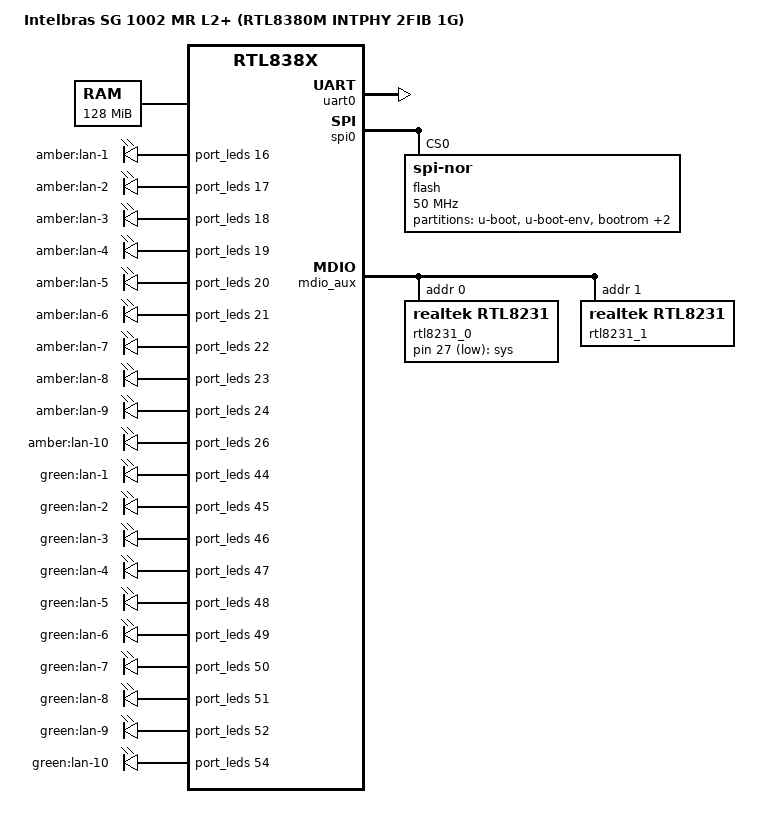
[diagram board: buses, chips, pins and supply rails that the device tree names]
// SPDX-License-Identifier: GPL-2.0-or-later

/*
 * Intelbras SG 1002 MR L2+
 *
 * DTS for the RTL8380M_INTPHY_2FIB_1G_DEMO hardware profile, booted by the GPL
 * U-Boot either as an initramfs loaded by TFTP or from the "firmware"
 * partition.  The whole 16 MiB flash is described, but everything except the
 * U-Boot environment and the "firmware" partition is read-only: the running
 * system must not alter the boot chain or the Intelbras VxWorks layout.
 *
 * Confirmed topology: RTL8380M, 128 MiB DDR3, eight RTL8218B internal PHYs
 * (MAC/PHY 8..15), 1G fibre SerDes 4 and 5 (MAC 24 and 26), CPU MAC 28.
 * The board visibly has two RTL8231 expanders.  RTL8231 address 0 is the
 * first candidate for the front-panel scan matrix.  The Realtek reference
 * profile for this PCB family selects single-colour scanning: the two banks
 * represent the two LEDs in each of the ten front-panel positions.  Address
 * 1 is the expander of the two SFP cages: several tracks run from the SFP
 * cages to the second RTL8231 (observed on the board by its owner, not yet
 * verified electrically or with a module).  It remains GPIO-only until the
 * individual pins are measured.
 */
#include "rtl838x.dtsi"

#include <dt-bindings/gpio/gpio.h>
#include <dt-bindings/leds/common.h>

/ {
	compatible = "intelbras,sg1002-mr", "realtek,rtl838x-soc";
	model = "Intelbras SG 1002 MR L2+ (RTL8380M INTPHY 2FIB 1G)";

	aliases {
		/* BDCO base MAC at SPI offset 0x141038. */
		label-mac-device = &ethernet0;

		/* The measured active-low SYS LED is the OpenWrt diagnostic LED. */
		led-boot = &sys;
		led-failsafe = &sys;
		led-running = &sys;
		led-upgrade = &sys;
	};

	memory@0 {
		device_type = "memory";
		reg = <0x0 0x8000000>;
	};

	port_leds: port-leds {
		compatible = "realtek,rtl8380-port-leds";
		gpio-controller;
		#gpio-cells = <2>;
		/* Measured from the vendor board's stable LED-engine state. */
		realtek,port-enable-mask = <0x05ffffff>;
	};

	leds {
		compatible = "gpio-leds";

		amber_lan1: amber-lan1 { label = "amber:lan-1"; gpios = <&port_leds 16 GPIO_ACTIVE_HIGH>; default-state = "off"; };
		amber_lan2: amber-lan2 { label = "amber:lan-2"; gpios = <&port_leds 17 GPIO_ACTIVE_HIGH>; default-state = "off"; };
		amber_lan3: amber-lan3 { label = "amber:lan-3"; gpios = <&port_leds 18 GPIO_ACTIVE_HIGH>; default-state = "off"; };
		amber_lan4: amber-lan4 { label = "amber:lan-4"; gpios = <&port_leds 19 GPIO_ACTIVE_HIGH>; default-state = "off"; };
		amber_lan5: amber-lan5 { label = "amber:lan-5"; gpios = <&port_leds 20 GPIO_ACTIVE_HIGH>; default-state = "off"; };
		amber_lan6: amber-lan6 { label = "amber:lan-6"; gpios = <&port_leds 21 GPIO_ACTIVE_HIGH>; default-state = "off"; };
		amber_lan7: amber-lan7 { label = "amber:lan-7"; gpios = <&port_leds 22 GPIO_ACTIVE_HIGH>; default-state = "off"; };
		amber_lan8: amber-lan8 { label = "amber:lan-8"; gpios = <&port_leds 23 GPIO_ACTIVE_HIGH>; default-state = "off"; };
		amber_lan9: amber-lan9 { label = "amber:lan-9"; gpios = <&port_leds 24 GPIO_ACTIVE_HIGH>; default-state = "off"; };
		amber_lan10: amber-lan10 { label = "amber:lan-10"; gpios = <&port_leds 26 GPIO_ACTIVE_HIGH>; default-state = "off"; };

		green_lan1: green-lan1 { label = "green:lan-1"; gpios = <&port_leds 44 GPIO_ACTIVE_HIGH>; default-state = "off"; };
		green_lan2: green-lan2 { label = "green:lan-2"; gpios = <&port_leds 45 GPIO_ACTIVE_HIGH>; default-state = "off"; };
		green_lan3: green-lan3 { label = "green:lan-3"; gpios = <&port_leds 46 GPIO_ACTIVE_HIGH>; default-state = "off"; };
		green_lan4: green-lan4 { label = "green:lan-4"; gpios = <&port_leds 47 GPIO_ACTIVE_HIGH>; default-state = "off"; };
		green_lan5: green-lan5 { label = "green:lan-5"; gpios = <&port_leds 48 GPIO_ACTIVE_HIGH>; default-state = "off"; };
		green_lan6: green-lan6 { label = "green:lan-6"; gpios = <&port_leds 49 GPIO_ACTIVE_HIGH>; default-state = "off"; };
		green_lan7: green-lan7 { label = "green:lan-7"; gpios = <&port_leds 50 GPIO_ACTIVE_HIGH>; default-state = "off"; };
		green_lan8: green-lan8 { label = "green:lan-8"; gpios = <&port_leds 51 GPIO_ACTIVE_HIGH>; default-state = "off"; };
		green_lan9: green-lan9 { label = "green:lan-9"; gpios = <&port_leds 52 GPIO_ACTIVE_HIGH>; default-state = "off"; };
		green_lan10: green-lan10 { label = "green:lan-10"; gpios = <&port_leds 54 GPIO_ACTIVE_HIGH>; default-state = "off"; };

		/* Measured: RTL8231 address 0, GPIO27, active-low. */
		sys: sys {
			label = "sys";
			gpios = <&rtl8231_0 27 GPIO_ACTIVE_LOW>;
			/* Preserve RUNNING through S96led's saved-state restoration. */
			default-state = "on";
		};
	};

};

/* UART0 is physically connected and remains at the U-Boot rate. */
&uart0 {
	status = "okay";
};

/* No second UART or PoE controller is known on this non-PoE model. */
&uart1 {
	status = "disabled";
};

/*
 * Flash map.  Every partition starts and ends on a 64 KiB erase block (the
 * size the MTD core uses on this W25Q128), which is also why 0x000000-0x03ffff
 * is one partition: an entry at 0x008000 would not be block aligned and the
 * core would print a warning and force it read-only anyway.
 *
 *   0x000000 0x040000  u-boot      GPL boot chain            read-only
 *   0x040000 0x010000  u-boot-env  GPL U-Boot environment    writable
 *									https://github.com/fbinerd/u-boot/tree/v2026.07-sg1002-mr
 *   0x050000 0x0f0000  bootrom     Intelbras VxWorks bootrom read-only
 *   0x140000 0x010000  factory     BDCO factory sector       read-only
 *   0x150000 0xeb0000  firmware    OpenWrt image             writable
 *
 * Only "u-boot-env" and "firmware" can be written from Linux.  Nothing else
 * is reachable through a writable MTD target, so a stray mtd write or a
 * sysupgrade cannot touch the boot chain or the proprietary layout.
 *
 * "u-boot" holds the GPL Stage-1 preloader (0x000000-0x007fff: DDR training,
 * copies Stage-2 to RAM) and the GPL Stage-2 U-Boot (0x008000-0x03ffff).  A
 * bad write here bricks the board; recovery needs an external programmer.
 *
 * "bootrom" is the Intelbras VxWorks bootrom, a uImage named "bootrom"
 * (0x050000-0x0f2e93, gzip payload vxWorks.bin) followed by padding up to the
 * factory sector.  The GPL U-Boot can still boot it as its fallback target
 * (vxworks_addr).  Stage-1 also reads its DDR training pattern from 0x050000
 * (static observation of the code, not verified on the board), so erasing this
 * area would change the calibration data.
 *
 * "u-boot-env" is the environment of the GPL U-Boot (Stage-2), a single 64 KiB
 * copy at 0x040000 (CONFIG_ENV_OFFSET/CONFIG_ENV_SIZE of
 * configs/intelbras_sg1002_mr_factory_payload_defconfig, CRC32 in target
 * byte order, no redundancy flag).  The name matters: uboot-envtools'
 * 30_uboot-envtools looks the partition up by it to generate
 * /etc/fw_env.config (its default case, env 0x10000 / sector 0x10000, fits
 * this flash; the optional "u-boot-env2" it probes does not exist and is
 * skipped).  That script only runs after preinit, while 05_fw_defaults calls
 * fw_loadenv during preinit.  The compatible "u-boot,env" is what lets
 * fw_printenv fall back to the NVMEM device the MTD core registers for the
 * partition (/sys/bus/nvmem/devices/mtdN/nvmem, needs CONFIG_NVMEM_SYSFS)
 * while /etc/fw_env.config does not exist yet.
 *
 * "firmware" is the OpenWrt image that U-Boot boots with `bootm 0xb4150000`
 * (openwrt_addr in the U-Boot environment): a standard uImage kernel followed
 * by the rootfs, split by the denx,uimage parser.  It spans 0x150000-0xffffff,
 * the old Intelbras filesystem area plus the vendor's own trailing "reserved"
 * sector, which this project already replaced with OpenWrt; nothing below
 * 0x150000 (bootrom at 0x050000, factory at 0x140000) is reachable through
 * this partition.  It is what lets sysupgrade rewrite the image from OpenWrt
 * itself.
 *
 * The vendor's own map ended "firmware" at 0xfcffff and left 0xfd0000-0xffffff
 * as a separate "reserved" partition; a full-chip factory dump (both an
 * external CH341A read and a second, independent read, byte for byte
 * identical) has every one of those 192 KiB erased (0xff), with no header, ID,
 * or string of any kind. There is nothing to preserve there, so it is folded
 * into "firmware" instead of kept as a dead partition, giving OpenWrt the
 * extra headroom instead of leaving it unusable.
 */
&spi0 {
	status = "okay";

	flash@0 {
		compatible = "jedec,spi-nor";
		reg = <0>;
		spi-max-frequency = <50000000>;
		m25p,fast-read;

		partitions {
			compatible = "fixed-partitions";
			#address-cells = <1>;
			#size-cells = <1>;

			partition@0 {
				label = "u-boot";
				reg = <0x0 0x40000>;
				read-only;
			};

			partition@40000 {
				compatible = "u-boot,env";
				label = "u-boot-env";
				reg = <0x40000 0x10000>;
			};

			partition@50000 {
				label = "bootrom";
				reg = <0x50000 0xf0000>;
				read-only;
			};

			factory: partition@140000 {
				label = "factory";
				reg = <0x140000 0x10000>;
				read-only;

				nvmem-layout {
					compatible = "fixed-layout";
					#address-cells = <1>;
					#size-cells = <1>;

					macaddr_factory: macaddr@1038 {
						compatible = "mac-base";
						reg = <0x1038 0x6>;
						#nvmem-cell-cells = <1>;
					};
				};
			};

			partition@150000 {
				label = "firmware";
				compatible = "denx,uimage";
				reg = <0x150000 0xeb0000>;
			};
		};
	};
};

/* Base MAC plus a deterministic increment for every front-panel port. */
&ethernet0 {
	nvmem-cells = <&macaddr_factory 0>;
	nvmem-cell-names = "mac-address";
};

&mdio_aux {
	status = "okay";

	rtl8231_0: expander@0 {
		compatible = "realtek,rtl8231";
		reg = <0>;
		gpio-controller;
		#gpio-cells = <2>;
		gpio-ranges = <&rtl8231_0 0 0 37>;

		/*
		 * The RTL8380 LED engine already drives the two port colour channels
		 * through &port_leds.  Do not put RTL8231 pins 0..19 into its own
		 * scan mode: that is a second producer for the same front-panel LED
		 * paths and produces group flicker/ghost illumination.  GPIO27 remains
		 * available as the separate SYS LED.
		 *
		 * Measured on the board (read-only scan of the aux MDIO bus, address 0,
		 * after the driver's init): PIN_MODE0/1 = 0xffff and PIN_HI_CFG mode
		 * bits = 0x1f, i.e. all 37 pins are in GPIO mode and none in LED mode;
		 * GPIO_DIR1 = 0xf7ff, i.e. GPIO27 is the only output.  The LED scan
		 * matrix of this expander is therefore unused, which is what the
		 * disabled node below says; without it the MFD core warns "Failed to
		 * locate of_node" and the LED driver then fails with "scan mode
		 * missing or invalid".
		 */
		led-controller {
			compatible = "realtek,rtl8231-leds";
			status = "disabled";
		};
	};

	/*
	 * Second RTL8231: the SFP sideband expander.  Several tracks from the two
	 * SFP cages (presumably TX_DISABLE, LOS, MOD_DEF0 and similar) go to this
	 * chip; no SFP module was available to confirm which pin is which, so
	 * that is not described yet and the pins stay plain GPIOs.
	 *
	 * It has never answered on the auxiliary MDIO bus: of the addresses 0..31
	 * only address 0 (the first RTL8231) reads back anything, so at boot this
	 * node logs "RTL8231 not present or ready 0x3f != 0x37".  reg = <1> is
	 * therefore only a placeholder for a strapped address that is not known
	 * (RTL8231 pins 37..41).  The node is kept, and the message with it,
	 * because the chip is real and the failure is a real hardware finding;
	 * see the V214/V216 notes of the U-Boot bring-up document for the
	 * hypotheses (held in reset, SMI-slave or shift-register strapping, other
	 * MDC/MDIO pins) and the measurements that would settle it.
	 */
	rtl8231_1: expander@1 {
		compatible = "realtek,rtl8231";
		reg = <1>;
		gpio-controller;
		#gpio-cells = <2>;
		gpio-ranges = <&rtl8231_1 0 0 37>;
	};
};

&mdio_bus0 {
	PHY_C22(8, 8)
	PHY_C22(9, 9)
	PHY_C22(10, 10)
	PHY_C22(11, 11)
	PHY_C22(12, 12)
	PHY_C22(13, 13)
	PHY_C22(14, 14)
	PHY_C22(15, 15)
};

&switch0 {
	ethernet-ports {
		#address-cells = <1>;
		#size-cells = <0>;

		SWITCH_PORT(8, 1, internal)
		SWITCH_PORT(9, 2, internal)
		SWITCH_PORT(10, 3, internal)
		SWITCH_PORT(11, 4, internal)
		SWITCH_PORT(12, 5, internal)
		SWITCH_PORT(13, 6, internal)
		SWITCH_PORT(14, 7, internal)
		SWITCH_PORT(15, 8, internal)

		/*
		 * The SFP cage I2C and MOD_DEF0/LOS GPIO wiring is still to be
		 * measured (the GPIOs are expected on the second RTL8231,
		 * &rtl8231_1, which does not answer yet).  Do not use fixed-link here: it fabricates carrier even
		 * with an empty cage.  Let the PCS report its in-band link state
		 * until the full sff,sfp description can be added.
		 */
		port@24 {
			reg = <24>;
			label = "lan9";
			pcs-handle = <&serdes4 0>;
			phy-mode = "1000base-x";
			managed = "in-band-status";
			nvmem-cells = <&macaddr_factory 9>;
			nvmem-cell-names = "mac-address";
		};

		port@26 {
			reg = <26>;
			label = "lan10";
			pcs-handle = <&serdes5 0>;
			phy-mode = "1000base-x";
			managed = "in-band-status";
			nvmem-cells = <&macaddr_factory 10>;
			nvmem-cell-names = "mac-address";
		};

		port@28 {
			ethernet = <&ethernet0>;
			reg = <28>;
			phy-mode = "internal";
			fixed-link {
				speed = <1000>;
				full-duplex;
			};
		};
	};
};

&port8 {
	nvmem-cells = <&macaddr_factory 1>;
	nvmem-cell-names = "mac-address";
};

&port9 {
	nvmem-cells = <&macaddr_factory 2>;
	nvmem-cell-names = "mac-address";
};

&port10 {
	nvmem-cells = <&macaddr_factory 3>;
	nvmem-cell-names = "mac-address";
};

&port11 {
	nvmem-cells = <&macaddr_factory 4>;
	nvmem-cell-names = "mac-address";
};

&port12 {
	nvmem-cells = <&macaddr_factory 5>;
	nvmem-cell-names = "mac-address";
};

&port13 {
	nvmem-cells = <&macaddr_factory 6>;
	nvmem-cell-names = "mac-address";
};

&port14 {
	nvmem-cells = <&macaddr_factory 7>;
	nvmem-cell-names = "mac-address";
};

&port15 {
	nvmem-cells = <&macaddr_factory 8>;
	nvmem-cell-names = "mac-address";
};
